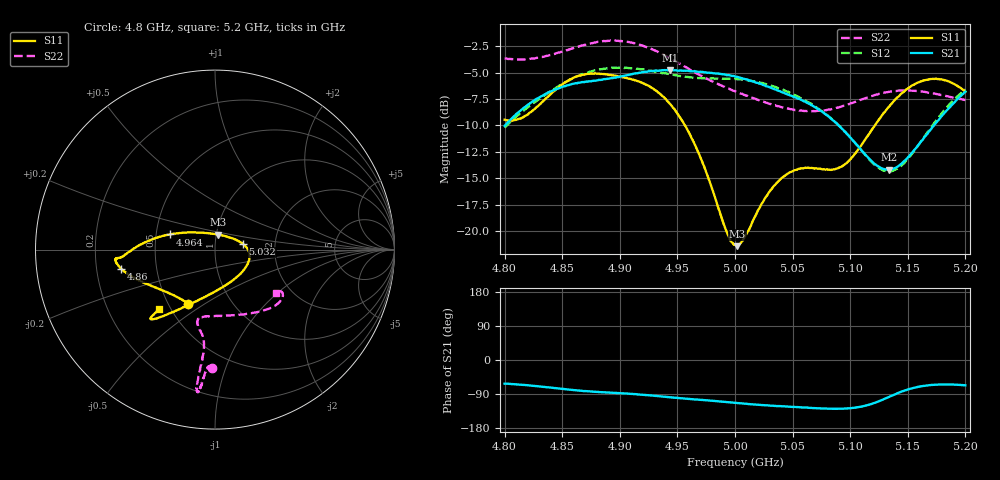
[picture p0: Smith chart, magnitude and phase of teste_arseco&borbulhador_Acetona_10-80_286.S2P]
! Network Analyzer HP8722D
! Hewlett-Packard
! Data name: Linha & Wilkinson
! Saver's name: Rodrigo Anjos
! Comments: Teste da utilização de aquisição
! continua pelo VNA HP8722D
! Time and date: 17/4/2025 16:44
!  Frequency  S11  S21  S12  S22
# HZ  S  MA R 50
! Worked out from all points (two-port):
!   401 points, 4.8 GHz to 5.2 GHz, reference 50 ohm
!   highest |S21| = -4.74 dB at 4.944 GHz (marker M1); lowest = -14.2 dB at 5.134 GHz (marker M2)
!   |S21| within 3 dB of the highest: 4.824 GHz to 5.061 GHz (237 MHz wide, 4.8 % of centre); 5.190873 GHz to end of sweep
!   lowest |S11| = -21.5 dB at 5.002 GHz (marker M3), VSWR 1.18, Z = 51.2 + j8.51 ohm
!   |S11| at or under -10 dB: 4.957 GHz to 5.121 GHz (164.8 MHz wide, 3.27 % of centre)
!   |S22| runs from -8.7 to -1.9 dB; largest |S21 - S12| = 0.87
!   S11 on the Smith chart (normalised r, x): 4.8 GHz: 0.63, -0.42; 4.86 GHz: 0.31, -0.09; 4.964 GHz: 0.59, +0.11; 5.032 GHz: 1.36, +0.09; 5.2 GHz: 0.43, -0.36
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4.8e9  0.3371 -116.8  0.3148 -62.4  0.309 -176.5  0.6581 -91.4
4.818e9  0.3515 -136.0  0.388 -66.2  0.3775 -176.1  0.6511 -92.9
4.86e9  0.5338 -168.4  0.4993 -79.3  0.531 -179.5  0.7374 -95.4
4.867e9  0.5486 -171.2  0.5079 -81.3  0.5522 179.3  0.7566 -95.8
4.899e9  0.5398 -175.1  0.5364 -87.3  0.5941 173.1  0.797 -97.2
4.934e9  0.4512 179.1  0.5756 -95.6  0.5659 170.1  0.7003 -97.4
4.944e9  0.3981 174.6  0.5794 -98.5  0.5522 170.2  0.6581 -97.1
4.964e9  0.2647 161.4  0.5714 -103.6  0.5327 171.9  0.5698 -96.4
4.975e9  0.1899 150.0  0.5642 -106.2  0.5288 173.1  0.5276 -96.7
4.993e9  0.09839 111.8  0.5482 -111.1  0.5271 174.3  0.4766 -98.6
5e9  0.08575 85.4  0.5403 -113.0  0.5261 174.3  0.4593 -100.2
5.002e9  0.08461 77.1  0.5374 -113.6  0.5243 174.2  0.4547 -100.6
5.032e9  0.1583 11.7  0.475 -120.6  0.4875 172.9  0.3973 -103.4
5.048e9  0.1901 -3.7  0.4398 -123.3  0.4512 172.3  0.3779 -99.2
5.067e9  0.1989 -23.9  0.394 -126.5  0.398 172.0  0.3692 -88.4
5.095e9  0.2062 -72.4  0.2962 -128.2  0.2976 174.5  0.3927 -66.6
5.121e9  0.3135 -111.5  0.2081 -113.4  0.2062 -168.3  0.4405 -49.4
5.134e9  0.3902 -121.3  0.1951 -97.0  0.1916 -150.0  0.4576 -43.3
5.146e9  0.455 -126.8  0.2121 -81.9  0.2076 -132.5  0.4637 -38.8
5.167e9  0.5204 -132.0  0.2883 -67.0  0.2928 -113.7  0.4538 -33.6
5.183e9  0.5175 -133.4  0.3688 -64.4  0.3812 -109.0  0.4362 -32.4
5.2e9  0.4572 -133.3  0.4573 -66.8  0.4686 -109.0  0.4171 -35.0
